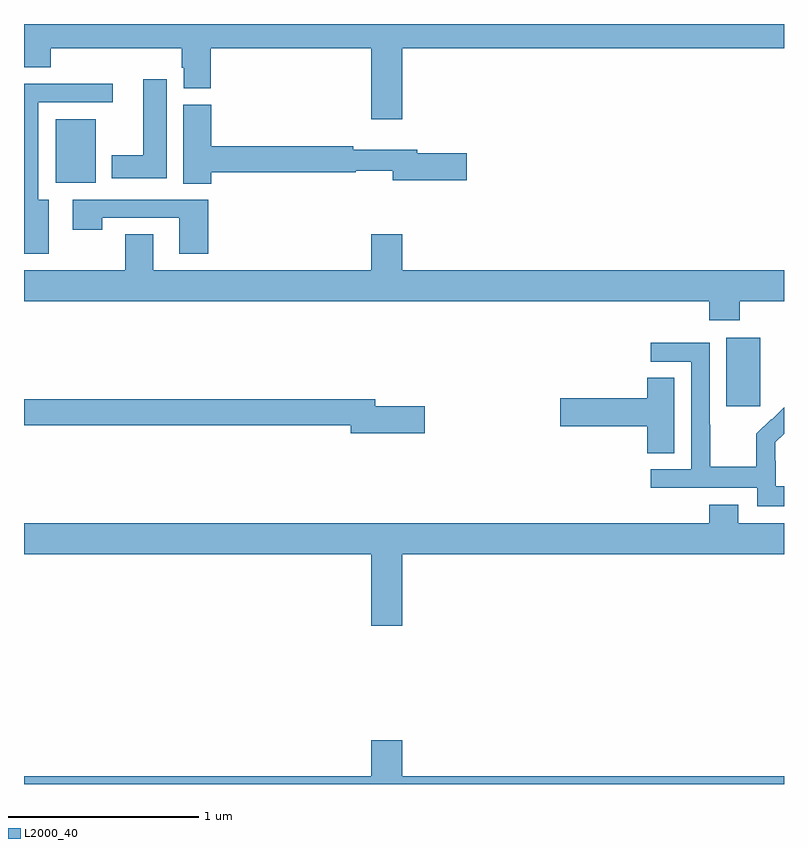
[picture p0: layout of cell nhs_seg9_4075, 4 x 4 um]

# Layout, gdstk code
import gdstk
lib = gdstk.Library(unit=1e-6, precision=1e-09)
def R(c, l, rs):  # rectangles x0, y0, x1, y1
    for r in rs: c.add(gdstk.rectangle(r[:2], r[2:], *l))
def P(c, l, *ps):  # polygons
    for p in ps: c.add(gdstk.Polygon(p, *l))
L2000_40 = (2000, 40)

nhs_seg9_4075 = lib.new_cell('nhs_seg9_4075')
R(nhs_seg9_4075, L2000_40, [(346.697,1242.489,346.876,1242.85), (343.166,1243.664,343.378,1243.999)])
P(nhs_seg9_4075, L2000_40, [(344.992,1244.372),(347,1244.372),(347,1244.5),(343,1244.5),(343,1244.273),(343.142,1244.273),(343.142,1244.372),(343.829,1244.372),(343.829,1244.271),(343.841,1244.271),(343.841,1244.161),(343.982,1244.161),(343.982,1244.372),(344.828,1244.372),(344.828,1243.998),(344.992,1243.998)],
  [(343.75,1244.209),(343.628,1244.209),(343.628,1243.81),(343.463,1243.81),(343.463,1243.688),(343.75,1243.688)],
  [(343.129,1243.576),(343.075,1243.576),(343.075,1244.088),(343.468,1244.088),(343.468,1244.186),(343,1244.186),(343,1243.29),(343.129,1243.29)],
  [(343.985,1243.72),(344.746,1243.72),(344.746,1243.728),(344.942,1243.728),(344.942,1243.678),(345.331,1243.678),(345.331,1243.82),(345.07,1243.82),(345.07,1243.837),(344.732,1243.837),(344.732,1243.856),(343.985,1243.856),(343.985,1244.076),(343.838,1244.076),(343.838,1243.66),(343.985,1243.66)],
  [(343.97,1243.575),(343.257,1243.575),(343.257,1243.416),(343.413,1243.416),(343.413,1243.479),(343.817,1243.479),(343.817,1243.29),(343.97,1243.29)],
  [(346.767,1243.04),(347,1243.04),(347,1243.204),(344.992,1243.204),(344.992,1243.393),(344.828,1243.393),(344.828,1243.204),(343.681,1243.204),(343.681,1243.394),(343.534,1243.394),(343.534,1243.204),(343,1243.204),(343,1243.04),(346.607,1243.04),(346.607,1242.941),(346.767,1242.941)],
  [(347,1242.067),(346.956,1242.067),(346.956,1242.201),(346.954,1242.201),(346.954,1242.298),(347,1242.344),(347,1242.482),(346.935,1242.417),(346.932,1242.42),(346.855,1242.343),(346.855,1242.169),(346.611,1242.169),(346.611,1242.392),(346.608,1242.392),(346.608,1242.822),(346.299,1242.822),(346.299,1242.723),(346.512,1242.723),(346.512,1242.156),(346.299,1242.156),(346.299,1242.06),(346.86,1242.06),(346.86,1241.963),(347,1241.963)],
  [(346.423,1242.638),(346.28,1242.638),(346.28,1242.53),(345.822,1242.53),(345.822,1242.383),(346.28,1242.383),(346.28,1242.241),(346.423,1242.241)],
  [(345.109,1242.488),(344.848,1242.488),(344.848,1242.524),(343,1242.524),(343,1242.388),(344.72,1242.388),(344.72,1242.346),(345.109,1242.346)],
  [(344.992,1241.708),(347,1241.708),(347,1241.872),(346.759,1241.872),(346.759,1241.971),(346.607,1241.971),(346.607,1241.872),(343,1241.872),(343,1241.708),(344.828,1241.708),(344.828,1241.334),(344.992,1241.334)],
  [(347,1240.54),(344.992,1240.54),(344.992,1240.729),(344.828,1240.729),(344.828,1240.54),(343,1240.54),(343,1240.5),(347,1240.5)])

lib.write_gds('nhs_seg9_4075.gds')
